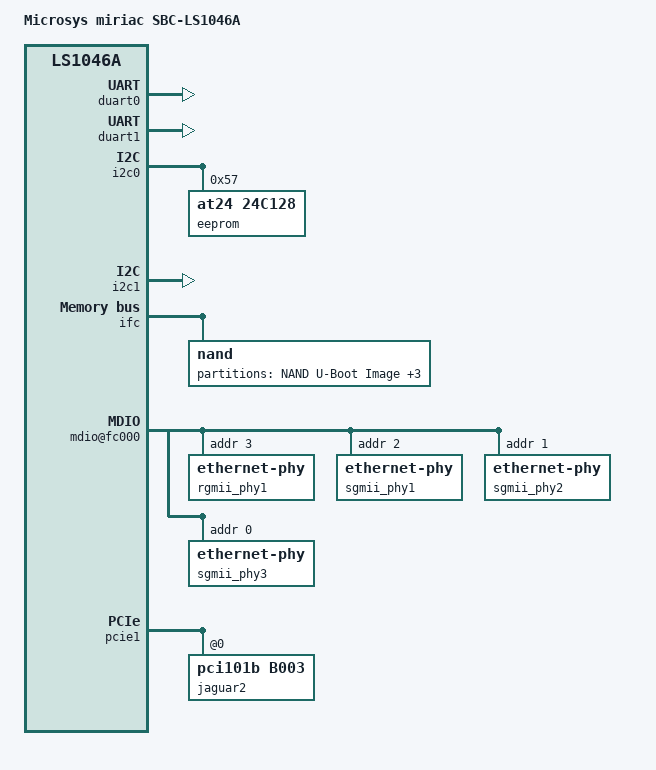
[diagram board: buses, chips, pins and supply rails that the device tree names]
// SPDX-License-Identifier: (GPL-2.0+ OR MIT)

/dts-v1/;

#include "fsl-ls1046a.dtsi"
#include "fsl-ls1046a-miriac-mpxls1046.dtsi"

/ {
	model = "Microsys miriac SBC-LS1046A";
	compatible = "microsys,sbc1046a", "microsys,mpxls1046a", "fsl,ls1046a";

	aliases {
		ethernet0 = &enet2;
		ethernet1 = &enet4;
		ethernet2 = &enet5;
		ethernet3 = &enet6;

		serial0 = &duart0;
		serial1 = &duart1;
		serial2 = &duart2;
		serial3 = &duart3;
	};

	chosen {
		stdout-path = "serial0:115200n8";
	};
};

&duart0 {
	status = "okay";
};

&duart1 {
	status = "okay";
};

&i2c0 {
	status = "okay";

	eeprom@57 {
		compatible = "at24,24c128";
		reg = <0x57>;
	};
};

&i2c1 {
	status = "okay";
};

&ifc {
	nand@0,0 {
		partition@0 {
			reg = <0x0 0x00100000>;
			label = "NAND U-Boot Image";
			read-only;
		};

		partition@100000 {
			reg = <0x00100000 0x00100000>;
			label = "NAND U-Boot Env";
		};

		partition@200000 {
			reg = <0x00200000 0x01E00000>;
			label = "NAND FIT Image";
		};

		partition@2000000 {
			reg = <0x02000000 0x1e000000>;
			label = "NAND (RW) UBIFS Root File System";
		};
	};
};

#include "fsl-ls1046-post.dtsi"

&fman0 {
	compatible = "fsl,fman", "simple-bus";

	ethernet@e4000 {
		phy-handle = <&rgmii_phy1>;
		phy-connection-type = "rgmii";
	};

	ethernet@e8000 {
		phy-handle = <&sgmii_phy1>;
		phy-connection-type = "sgmii";
	};

	ethernet@ea000 {
		phy-handle = <&sgmii_phy2>;
		phy-connection-type = "sgmii";
	};

	ethernet@f0000 {
		phy-handle = <&sgmii_phy3>;
		phy-connection-type = "sgmii";
	};

	mdio@fc000 {
		rgmii_phy1: ethernet-phy@3 {
			reg = <3>;
		};

		sgmii_phy1: ethernet-phy@2 {
			reg = <2>;
		};

		sgmii_phy2: ethernet-phy@1 {
			reg = <1>;
		};

		sgmii_phy3: ethernet-phy@0 {
			reg = <0>;
		};
	};
};

&pcie1 {
	pci@0,0 {
		#address-cells = <3>;
		#size-cells = <2>;
		reg = <0 0 0 0 0>;
		device_type = "pci";
		ranges = <0x82000000 0x0 0x40000000 0x82000000 0x0 0x40000000 0 0x40000000>;

		jaguar2: switch@0,0 {
			compatible = "pci101b,b003";

			reg = <0x0000 0 0 0 0>;
			#address-cells = <1>;
			#size-cells = <1>;
			ranges = <0 0x82000000 0x0 0x48000000 0x2000000>;

			#interrupt-cells = <1>;
			interrupt-controller;
			interrupt-parent = <&jaguar2>;

			jaguar_clk: jaguar-clock {
				compatible = "fixed-clock";
				#clock-cells = <0>;
				clock-frequency = <250000000>;
			};

			cpu_ctrl: syscon@0 {
				compatible = "mscc,jaguar2-cpu-syscon", "syscon";
				reg = <0x0 0x2c>;
			};

			gpio: pinctrl@1070034 {
				compatible = "mscc,jaguar2-pinctrl";
				reg = <0x1010038 0x90>;
				gpio-controller;
				#gpio-cells = <2>;
				gpio-ranges = <&gpio 0 0 64>;

				uart_pins: uart-pins {
					pins = "GPIO_10", "GPIO_11";
					function = "uart";
				};

				uart2_pins: uart2-pins {
					pins = "GPIO_24", "GPIO_25";
					function = "uart2";
				};

				i2c_pins: i2c-pins {
					pins = "GPIO_14", "GPIO_15";
					function = "twi";
				};

				i2c2_pins: i2c2-pins {
					pins = "GPIO_28", "GPIO_29";
					function = "twi2";
				};
			};

			serial@100000 {
				pinctrl-0 = <&uart_pins>;
				pinctrl-names = "default";
				compatible = "ns16550a";
				reg = <0x100000 0x100>;
				interrupts = <6>;
				clocks = <&jaguar_clk>;
				no-loopback-test;
				reg-io-width = <4>;
				reg-shift = <2>;
			};

			i2c@100400 {
				compatible = "mscc,ocelot-i2c", "snps,designware-i2c";
				pinctrl-0 = <&i2c_pins>;
				pinctrl-names = "default";
				reg = <0x100400 0x100>, <0x1b8 0x8>;
				#address-cells = <1>;
				#size-cells = <0>;
				interrupts = <8>;
				i2c-sda-hold-time-ns = <300>;
				clock-frequency = <100000>;
				clocks = <&jaguar_clk>;
			};

			serial@100800 {
				pinctrl-0 = <&uart2_pins>;
				pinctrl-names = "default";
				compatible = "ns16550a";
				reg = <0x100800 0x100>;
				interrupts = <7>;
				clocks = <&jaguar_clk>;
				reg-io-width = <4>;
				reg-shift = <2>;
				no-loopback-test;
			};

			spi@101000 {
				compatible = "mscc,jaguar2-spi", "snps,dw-apb-ssi";
				#address-cells = <1>;
				#size-cells = <0>;
				reg = <0x101000 0x1000>, <0x3c 0x18>;
				interrupts = <10>;
				clocks = <&jaguar_clk>;

				flash@0 {
					compatible = "mx25l25635e", "jedec,spi-nor";
					spi-max-frequency = <20840000>;
					reg = <0>;
				};
			};
		};
	};
};
